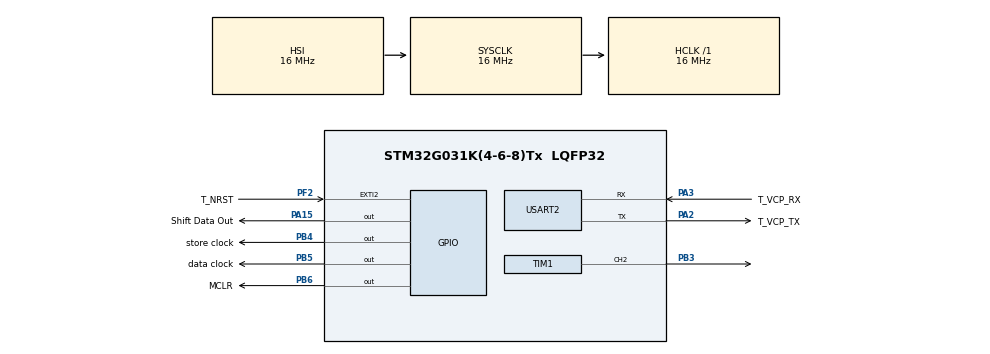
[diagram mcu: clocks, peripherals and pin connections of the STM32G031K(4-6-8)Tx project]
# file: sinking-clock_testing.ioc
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Mcu.Family=STM32G0
Mcu.Name=STM32G031K(4-6-8)Tx
Mcu.Package=LQFP32
NVIC.EXTI2_3_IRQn=true\:0\:0\:false\:false\:true\:true\:true\:true
NVIC.RTC_TAMP_IRQn=true\:0\:0\:false\:false\:true\:true\:true\:true
PA13.GPIO_Label=T_JTMS
PA13.Mode=Serial_Wire
PA13.Signal=SYS_SWDIO
PA14-BOOT0.GPIO_Label=T_JTCK
PA14-BOOT0.Mode=Serial_Wire
PA14-BOOT0.Signal=SYS_SWCLK
PA15.GPIO_Label=Shift Data Out
PA15.Signal=GPIO_Output
PA2.GPIO_Label=T_VCP_TX
PA2.GPIO_PuPd=GPIO_PULLUP
PA2.Mode=Asynchronous
PA2.Signal=USART2_TX
PA3.GPIO_Label=T_VCP_RX
PA3.GPIO_PuPd=GPIO_PULLUP
PA3.Mode=Asynchronous
PA3.Signal=USART2_RX
PB3.Signal=S_TIM1_CH2
PB4.GPIO_Label=store clock
PB4.Signal=GPIO_Output
PB5.GPIO_Label=data clock
PB5.Signal=GPIO_Output
PB6.GPIO_Label=MCLR
PB6.Signal=GPIO_Output
PC14-OSC32_IN\ (PC14).Mode=LSE-External-Oscillator
PC14-OSC32_IN\ (PC14).Signal=RCC_OSC32_IN
PC15-OSC32_OUT\ (PC15).Mode=LSE-External-Oscillator
PC15-OSC32_OUT\ (PC15).Signal=RCC_OSC32_OUT
PF2\ -\ NRST.GPIO_Label=T_NRST
PF2\ -\ NRST.Signal=GPXTI2
ProjectManager.HeapSize=0x200
ProjectManager.StackSize=0x400
ProjectManager.TargetToolchain=STM32CubeIDE
RCC.AHBFreq_Value=16000000
RCC.CortexFreq_Value=16000000
RCC.EXTERNAL_CLOCK_VALUE=12288000
RCC.HCLKFreq_Value=16000000
RCC.HSE_VALUE=8000000
RCC.HSI_VALUE=16000000
RCC.SYSCLKFreq_VALUE=16000000
RCC.VCOOutputFreq_Value=128000000
RTC.Alarm-Alarm\ A=RTC_ALARM_A
RTC.AlarmMaskDateWeekDay-Alarm\ A=RTC_ALARMMASK_DATEWEEKDAY
RTC.AlarmMaskHours-Alarm\ A=RTC_ALARMMASK_HOURS
RTC.AlarmMaskMinutes-Alarm\ A=RTC_ALARMMASK_MINUTES
RTC.HourFormat=RTC_HOURFORMAT_12
RTC.Seconds_A-Alarm\ A=1
SH.S_TIM1_CH2.0=TIM1_CH2,PWM Generation2 CH2
TIM1.Channel-PWM\ Generation2\ CH2=TIM_CHANNEL_2
TIM1.Period=1000 - 1
TIM1.Prescaler=80 - 1
USART2.VirtualMode-Asynchronous=VM_ASYNC
USART2.WordLength=WORDLENGTH_9B
VP_RTC_VS_RTC_Activate.Mode=RTC_Enabled
VP_RTC_VS_RTC_Alarm_A_Intern.Mode=Alarm A
VP_RTC_VS_RTC_Calendar.Mode=RTC_Calendar
board=NUCLEO-G031K8

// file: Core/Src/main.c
/* USER CODE BEGIN Header */
/**
  ******************************************************************************
  * @file           : main.c
  * @brief          : Main program body
  ******************************************************************************
  * @attention
  *
  * Copyright (c) 2023 STMicroelectronics.
  * All rights reserved.
  *
  * This software is licensed under terms that can be found in the LICENSE file
  * in the root directory of this software component.
  * If no LICENSE file comes with this software, it is provided AS-IS.
  *
  ******************************************************************************
  */
/* USER CODE END Header */
#include "main.h"

/* USER CODE BEGIN Includes */
#include <stdio.h>
#include <string.h>

/* USER CODE END Includes */

RTC_HandleTypeDef hrtc;

TIM_HandleTypeDef htim1;

UART_HandleTypeDef huart2;

void SystemClock_Config(void);
static void MX_GPIO_Init(void);
static void MX_USART2_UART_Init(void);
static void MX_RTC_Init(void);
static void MX_TIM1_Init(void);
/* USER CODE BEGIN PFP */

/*
 * Map printf to UART output to read messages on terminal
 */
#ifdef __GNUC__
#define PUTCHAR_PROTOTYPE int __io_putchar(int ch)
#else
#define PUTCHAR_PROTOTYPE int fputc(int ch, FILE *f)
#endif

PUTCHAR_PROTOTYPE
{
  HAL_UART_Transmit(&huart2, (uint8_t *)&ch, 1, HAL_MAX_DELAY);
  return ch;
}

/* USER CODE END PFP */

int main(void)
{

  /* MCU Configuration--------------------------------------------------------*/

  /* Reset of all peripherals, Initializes the Flash interface and the Systick. */
  HAL_Init();

  /* Configure the system clock */
  SystemClock_Config();

  /* Initialize all configured peripherals */
  MX_GPIO_Init();
  MX_USART2_UART_Init();
  MX_RTC_Init();
  MX_TIM1_Init();
  /* USER CODE BEGIN 2 */

  GPIO_PinState GPIOPinSet[2] = {GPIO_PIN_RESET, GPIO_PIN_SET};

	  uint16_t shiftDataPin = GPIO_PIN_15;			// Port A
	  uint16_t shiftDataClockPin = GPIO_PIN_5;		// Port B
	  uint16_t shiftStoreClockPin = GPIO_PIN_4;		// Port B
	  uint16_t shiftOutputEnablePin = GPIO_PIN_3;		// Port B
	  uint16_t shiftMCLRPin = GPIO_PIN_6;				// Port B

	  const uint8_t dispDigits[10] = {0b01111110, 	// 0
									0b00110000,		// 1
									0b01101101,		// 2
									0b01111001,		// 3
									0b00110011,		// 4
									0b01011011,		// 5
									0b01011111,		// 6
									0b01110000,		// 7
									0b01111111,		// 8
									0b01111011};	// 9

	// Clear any existing shift register data
	HAL_GPIO_WritePin(GPIOB, shiftMCLRPin, GPIOPinSet[0]);
	HAL_GPIO_WritePin(GPIOB, shiftMCLRPin, GPIOPinSet[1]);

	// Store cleared data
	HAL_GPIO_WritePin(GPIOB, shiftStoreClockPin, GPIOPinSet[1]);
	HAL_GPIO_WritePin(GPIOB, shiftStoreClockPin, GPIOPinSet[0]);

  // Enable output by pulling enable pin low
   HAL_GPIO_WritePin(GPIOB, shiftOutputEnablePin, GPIOPinSet[0]);

   uint16_t halDelay = 0;
	for (int i = 0; i < 4; i++) {

	  uint8_t sendByte = dispDigits[i+1];

	  for(int j = 0; j < 8; j++) {

		HAL_GPIO_WritePin(GPIOA, shiftDataPin, GPIOPinSet[sendByte & 1]);
		//HAL_Delay(halDelay);

		// Toggle clock GPIO to shift bit into register
		HAL_GPIO_WritePin(GPIOB, shiftDataClockPin, GPIOPinSet[1]);
		//HAL_Delay(halDelay);
		HAL_GPIO_WritePin(GPIOB, shiftDataClockPin, GPIOPinSet[0]);
		//HAL_Delay(halDelay);

		// Store cleared data
		HAL_GPIO_WritePin(GPIOB, shiftStoreClockPin, GPIOPinSet[1]);
		//HAL_Delay(halDelay);
		HAL_GPIO_WritePin(GPIOB, shiftStoreClockPin, GPIOPinSet[0]);
		//HAL_Delay(halDelay);

		// Once data pin has been written and shifted out, shift data right by one bit.
		sendByte >>= 1;

	  }
	}

  /* USER CODE END 2 */

  /* Infinite loop */
  /* USER CODE BEGIN WHILE */
  while (1)
  {

	  //	  // Enable output by pulling enable pin low
	  //	   HAL_GPIO_WritePin(GPIOB, shiftOutputEnablePin, GPIOPinSet[0]);

//	   HAL_Delay(1000);
//
//	   HAL_GPIO_WritePin(GPIOB, shiftOutputEnablePin, GPIOPinSet[1]);
//
//	   HAL_Delay(1000);

	  //Start PWM on enable output pin
	  uint16_t duties[5] = {1000, 900, 800, 700, 600};
	  for(int i = 0; i < 5; i++) {

		  __HAL_TIM_SET_COMPARE(&htim1, TIM_CHANNEL_2, duties[i]);
		  HAL_TIM_PWM_Start(&htim1, TIM_CHANNEL_2);

		  HAL_Delay(1000);
	  }

   }

    /* USER CODE END WHILE */

}

void SystemClock_Config(void)
{
  RCC_OscInitTypeDef RCC_OscInitStruct = {0};
  RCC_ClkInitTypeDef RCC_ClkInitStruct = {0};

  /** Configure the main internal regulator output voltage
  */
  HAL_PWREx_ControlVoltageScaling(PWR_REGULATOR_VOLTAGE_SCALE1);

  /** Initializes the RCC Oscillators according to the specified parameters
  * in the RCC_OscInitTypeDef structure.
  */
  RCC_OscInitStruct.OscillatorType = RCC_OSCILLATORTYPE_HSI|RCC_OSCILLATORTYPE_LSI;
  RCC_OscInitStruct.HSIState = RCC_HSI_ON;
  RCC_OscInitStruct.HSIDiv = RCC_HSI_DIV1;
  RCC_OscInitStruct.HSICalibrationValue = RCC_HSICALIBRATION_DEFAULT;
  RCC_OscInitStruct.LSIState = RCC_LSI_ON;
  RCC_OscInitStruct.PLL.PLLState = RCC_PLL_NONE;
  if (HAL_RCC_OscConfig(&RCC_OscInitStruct) != HAL_OK)
  {
    Error_Handler();
  }

  /** Initializes the CPU, AHB and APB buses clocks
  */
  RCC_ClkInitStruct.ClockType = RCC_CLOCKTYPE_HCLK|RCC_CLOCKTYPE_SYSCLK
                              |RCC_CLOCKTYPE_PCLK1;
  RCC_ClkInitStruct.SYSCLKSource = RCC_SYSCLKSOURCE_HSI;
  RCC_ClkInitStruct.AHBCLKDivider = RCC_SYSCLK_DIV1;
  RCC_ClkInitStruct.APB1CLKDivider = RCC_HCLK_DIV1;

  if (HAL_RCC_ClockConfig(&RCC_ClkInitStruct, FLASH_LATENCY_0) != HAL_OK)
  {
    Error_Handler();
  }
}

static void MX_RTC_Init(void)
{

  RTC_TimeTypeDef sTime = {0};
  RTC_DateTypeDef sDate = {0};
  RTC_AlarmTypeDef sAlarm = {0};

  /** Initialize RTC Only
  */
  hrtc.Instance = RTC;
  hrtc.Init.HourFormat = RTC_HOURFORMAT_12;
  hrtc.Init.AsynchPrediv = 127;
  hrtc.Init.SynchPrediv = 255;
  hrtc.Init.OutPut = RTC_OUTPUT_DISABLE;
  hrtc.Init.OutPutRemap = RTC_OUTPUT_REMAP_NONE;
  hrtc.Init.OutPutPolarity = RTC_OUTPUT_POLARITY_HIGH;
  hrtc.Init.OutPutType = RTC_OUTPUT_TYPE_OPENDRAIN;
  hrtc.Init.OutPutPullUp = RTC_OUTPUT_PULLUP_NONE;
  if (HAL_RTC_Init(&hrtc) != HAL_OK)
  {
    Error_Handler();
  }

  /** Initialize RTC and set the Time and Date
  */
  sTime.Hours = 0x1;
  sTime.Minutes = 0x0;
  sTime.Seconds = 0x0;
  sTime.SubSeconds = 0x0;
  sTime.TimeFormat = RTC_HOURFORMAT12_AM;
  sTime.DayLightSaving = RTC_DAYLIGHTSAVING_NONE;
  sTime.StoreOperation = RTC_STOREOPERATION_RESET;
  if (HAL_RTC_SetTime(&hrtc, &sTime, RTC_FORMAT_BCD) != HAL_OK)
  {
    Error_Handler();
  }
  sDate.WeekDay = RTC_WEEKDAY_MONDAY;
  sDate.Month = RTC_MONTH_JANUARY;
  sDate.Date = 0x1;
  sDate.Year = 0x0;

  if (HAL_RTC_SetDate(&hrtc, &sDate, RTC_FORMAT_BCD) != HAL_OK)
  {
    Error_Handler();
  }

  /** Enable the Alarm A
  */
  sAlarm.AlarmTime.Hours = 0x1;
  sAlarm.AlarmTime.Minutes = 0x0;
  sAlarm.AlarmTime.Seconds = 0x1;
  sAlarm.AlarmTime.SubSeconds = 0x0;
  sAlarm.AlarmTime.TimeFormat = RTC_HOURFORMAT12_AM;
  sAlarm.AlarmTime.DayLightSaving = RTC_DAYLIGHTSAVING_NONE;
  sAlarm.AlarmTime.StoreOperation = RTC_STOREOPERATION_RESET;
  sAlarm.AlarmMask = RTC_ALARMMASK_DATEWEEKDAY|RTC_ALARMMASK_HOURS
                              |RTC_ALARMMASK_MINUTES;
  sAlarm.AlarmSubSecondMask = RTC_ALARMSUBSECONDMASK_ALL;
  sAlarm.AlarmDateWeekDaySel = RTC_ALARMDATEWEEKDAYSEL_DATE;
  sAlarm.AlarmDateWeekDay = 0x1;
  sAlarm.Alarm = RTC_ALARM_A;
  if (HAL_RTC_SetAlarm_IT(&hrtc, &sAlarm, RTC_FORMAT_BCD) != HAL_OK)
  {
    Error_Handler();
  }

}

static void MX_TIM1_Init(void)
{

  TIM_MasterConfigTypeDef sMasterConfig = {0};
  TIM_OC_InitTypeDef sConfigOC = {0};
  TIM_BreakDeadTimeConfigTypeDef sBreakDeadTimeConfig = {0};

  htim1.Instance = TIM1;
  htim1.Init.Prescaler = 80 - 1;
  htim1.Init.CounterMode = TIM_COUNTERMODE_UP;
  htim1.Init.Period = 1000 - 1;
  htim1.Init.ClockDivision = TIM_CLOCKDIVISION_DIV1;
  htim1.Init.RepetitionCounter = 0;
  htim1.Init.AutoReloadPreload = TIM_AUTORELOAD_PRELOAD_DISABLE;
  if (HAL_TIM_PWM_Init(&htim1) != HAL_OK)
  {
    Error_Handler();
  }
  sMasterConfig.MasterOutputTrigger = TIM_TRGO_RESET;
  sMasterConfig.MasterOutputTrigger2 = TIM_TRGO2_RESET;
  sMasterConfig.MasterSlaveMode = TIM_MASTERSLAVEMODE_DISABLE;
  if (HAL_TIMEx_MasterConfigSynchronization(&htim1, &sMasterConfig) != HAL_OK)
  {
    Error_Handler();
  }
  sConfigOC.OCMode = TIM_OCMODE_PWM1;
  sConfigOC.Pulse = 0;
  sConfigOC.OCPolarity = TIM_OCPOLARITY_HIGH;
  sConfigOC.OCNPolarity = TIM_OCNPOLARITY_HIGH;
  sConfigOC.OCFastMode = TIM_OCFAST_DISABLE;
  sConfigOC.OCIdleState = TIM_OCIDLESTATE_RESET;
  sConfigOC.OCNIdleState = TIM_OCNIDLESTATE_RESET;
  if (HAL_TIM_PWM_ConfigChannel(&htim1, &sConfigOC, TIM_CHANNEL_2) != HAL_OK)
  {
    Error_Handler();
  }
  sBreakDeadTimeConfig.OffStateRunMode = TIM_OSSR_DISABLE;
  sBreakDeadTimeConfig.OffStateIDLEMode = TIM_OSSI_DISABLE;
  sBreakDeadTimeConfig.LockLevel = TIM_LOCKLEVEL_OFF;
  sBreakDeadTimeConfig.DeadTime = 0;
  sBreakDeadTimeConfig.BreakState = TIM_BREAK_DISABLE;
  sBreakDeadTimeConfig.BreakPolarity = TIM_BREAKPOLARITY_HIGH;
  sBreakDeadTimeConfig.BreakFilter = 0;
  sBreakDeadTimeConfig.BreakAFMode = TIM_BREAK_AFMODE_INPUT;
  sBreakDeadTimeConfig.Break2State = TIM_BREAK2_DISABLE;
  sBreakDeadTimeConfig.Break2Polarity = TIM_BREAK2POLARITY_HIGH;
  sBreakDeadTimeConfig.Break2Filter = 0;
  sBreakDeadTimeConfig.Break2AFMode = TIM_BREAK_AFMODE_INPUT;
  sBreakDeadTimeConfig.AutomaticOutput = TIM_AUTOMATICOUTPUT_DISABLE;
  if (HAL_TIMEx_ConfigBreakDeadTime(&htim1, &sBreakDeadTimeConfig) != HAL_OK)
  {
    Error_Handler();
  }
  HAL_TIM_MspPostInit(&htim1);

}

static void MX_USART2_UART_Init(void)
{

  huart2.Instance = USART2;
  huart2.Init.BaudRate = 115200;
  huart2.Init.WordLength = UART_WORDLENGTH_9B;
  huart2.Init.StopBits = UART_STOPBITS_1;
  huart2.Init.Parity = UART_PARITY_NONE;
  huart2.Init.Mode = UART_MODE_TX_RX;
  huart2.Init.HwFlowCtl = UART_HWCONTROL_NONE;
  huart2.Init.OverSampling = UART_OVERSAMPLING_16;
  huart2.Init.OneBitSampling = UART_ONE_BIT_SAMPLE_DISABLE;
  huart2.Init.ClockPrescaler = UART_PRESCALER_DIV1;
  huart2.AdvancedInit.AdvFeatureInit = UART_ADVFEATURE_NO_INIT;
  if (HAL_UART_Init(&huart2) != HAL_OK)
  {
    Error_Handler();
  }

}

static void MX_GPIO_Init(void)
{
  GPIO_InitTypeDef GPIO_InitStruct = {0};

  /* GPIO Ports Clock Enable */
  __HAL_RCC_GPIOC_CLK_ENABLE();
  __HAL_RCC_GPIOF_CLK_ENABLE();
  __HAL_RCC_GPIOA_CLK_ENABLE();
  __HAL_RCC_GPIOB_CLK_ENABLE();

  /*Configure GPIO pin Output Level */
  HAL_GPIO_WritePin(Shift_Data_Out_GPIO_Port, Shift_Data_Out_Pin, GPIO_PIN_RESET);

  /*Configure GPIO pin Output Level */
  HAL_GPIO_WritePin(GPIOB, store_clock_Pin|data_clock_Pin|MCLR_Pin, GPIO_PIN_RESET);

  /*Configure GPIO pin : T_NRST_Pin */
  GPIO_InitStruct.Pin = T_NRST_Pin;
  GPIO_InitStruct.Mode = GPIO_MODE_IT_RISING;
  GPIO_InitStruct.Pull = GPIO_NOPULL;
  HAL_GPIO_Init(T_NRST_GPIO_Port, &GPIO_InitStruct);

  /*Configure GPIO pin : Shift_Data_Out_Pin */
  GPIO_InitStruct.Pin = Shift_Data_Out_Pin;
  GPIO_InitStruct.Mode = GPIO_MODE_OUTPUT_PP;
  GPIO_InitStruct.Pull = GPIO_NOPULL;
  GPIO_InitStruct.Speed = GPIO_SPEED_FREQ_LOW;
  HAL_GPIO_Init(Shift_Data_Out_GPIO_Port, &GPIO_InitStruct);

  /*Configure GPIO pins : store_clock_Pin data_clock_Pin MCLR_Pin */
  GPIO_InitStruct.Pin = store_clock_Pin|data_clock_Pin|MCLR_Pin;
  GPIO_InitStruct.Mode = GPIO_MODE_OUTPUT_PP;
  GPIO_InitStruct.Pull = GPIO_NOPULL;
  GPIO_InitStruct.Speed = GPIO_SPEED_FREQ_LOW;
  HAL_GPIO_Init(GPIOB, &GPIO_InitStruct);

  /* EXTI interrupt init*/
  HAL_NVIC_SetPriority(EXTI2_3_IRQn, 0, 0);
  HAL_NVIC_EnableIRQ(EXTI2_3_IRQn);

/* USER CODE BEGIN MX_GPIO_Init_2 */
  // Initialize all output pins to low
/* USER CODE END MX_GPIO_Init_2 */
}

/* USER CODE BEGIN 4 */
void HAL_GPIO_EXTI_Falling_Callback(uint16_t GPIO_Pin)
{

}

void HAL_RTC_AlarmAEventCallback(RTC_HandleTypeDef *hrtc) {

  /*RTC_AlarmTypeDef sAlarm;
  HAL_RTC_GetAlarm(hrtc,&sAlarm,RTC_ALARM_A,FORMAT_BIN);

  printf("Enter alarm interrupt\n\r");

  RTC_TimeTypeDef currTime;
  RTC_DateTypeDef currDate;
  HAL_RTC_GetTime(hrtc, &currTime, RTC_FORMAT_BIN);
  HAL_RTC_GetDate(hrtc, &currDate, RTC_FORMAT_BIN);		//get date is necessary, else RTC will not update time

  if(sAlarm.AlarmTime.Seconds>58) {
    sAlarm.AlarmTime.Seconds=0;
  } else {
    sAlarm.AlarmTime.Seconds=sAlarm.AlarmTime.Seconds+1;
  }
    while(HAL_RTC_SetAlarm_IT(hrtc, &sAlarm, FORMAT_BIN)!=HAL_OK){}
    HAL_GPIO_TogglePin(GPIOA, RTCInterruptLEDPin);

  printf("Current time: %d : %d : %d\n\r", currTime.Hours, currTime.Minutes, currTime.Seconds);*/

}

/* USER CODE END 4 */

void Error_Handler(void)
{
  __disable_irq();
  while (1)
  {
  }
}
